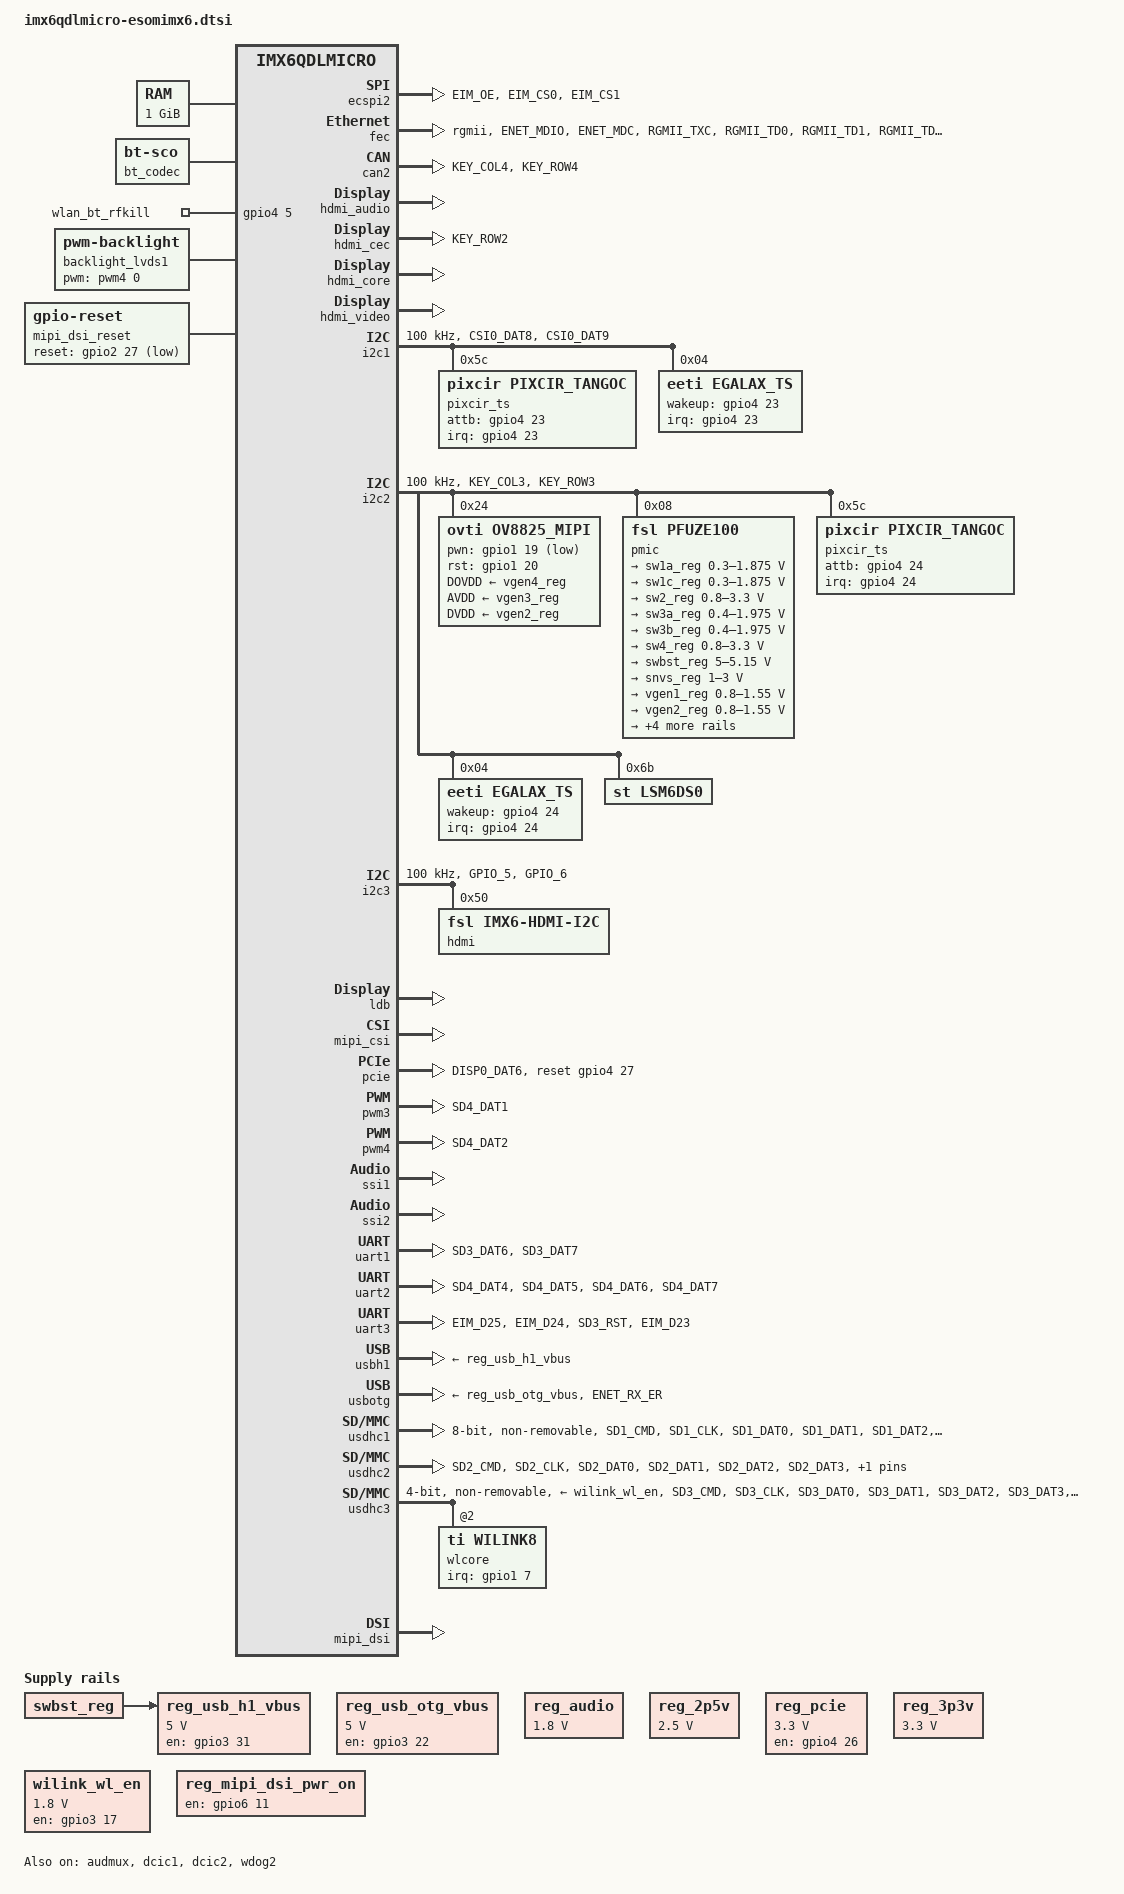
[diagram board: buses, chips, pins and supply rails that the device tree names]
/*
 * Copyright 2012 Freescale Semiconductor, Inc.
 * Copyright 2011 Linaro Ltd.
 *
 * The code contained herein is licensed under the GNU General Public
 * License. You may obtain a copy of the GNU General Public License
 * Version 2 or later at the following locations:
 *
 * http://www.opensource.org/licenses/gpl-license.html
 * http://www.gnu.org/copyleft/gpl.html
 */

#include <dt-bindings/gpio/gpio.h>
#include <dt-bindings/input/input.h>

/ {
	aliases {
		mxcfb0 = &mxcfb1;
		mxcfb1 = &mxcfb2;
		mxcfb2 = &mxcfb3;
		mxcfb3 = &mxcfb4;
	};

	hannstar_cabc {
		compatible = "hannstar,cabc";
		lvds0 {
			gpios = <&gpio6 15 GPIO_ACTIVE_HIGH>;
		};
		lvds1 {
			gpios = <&gpio6 16 GPIO_ACTIVE_HIGH>;
		};
	};

	chosen {
		stdout-path = &uart1;
	};
	memory {
		reg = <0x10000000 0x20000000 0x80000000 0x20000000>;
	};

	regulators {
		compatible = "simple-bus";
		#address-cells = <1>;
		#size-cells = <0>;

		reg_usb_otg_vbus: regulator@0 {
			compatible = "regulator-fixed";
			reg = <0>;
			regulator-name = "usb_otg_vbus";
			regulator-min-microvolt = <5000000>;
			regulator-max-microvolt = <5000000>;
			gpio = <&gpio3 22 0>;
			enable-active-high;
		};

		reg_usb_h1_vbus: regulator@1 {
			compatible = "regulator-fixed";
			reg = <1>;
			regulator-name = "usb_h1_vbus";
			regulator-min-microvolt = <5000000>;
			regulator-max-microvolt = <5000000>;
			gpio = <&gpio3 31 0>;
			enable-active-high;
			vin-supply = <&swbst_reg>;
		};

                reg_audio: 1p8v {
                        compatible = "regulator-fixed";
                        regulator-name = "1P8V";
                        regulator-min-microvolt = <1800000>;
                        regulator-max-microvolt = <1800000>;
                        regulator-always-on;
                };

		reg_2p5v: regulator@2 {
			compatible = "regulator-fixed";
			reg = <2>;
			regulator-name = "2P5V";
			regulator-min-microvolt = <2500000>;
			regulator-max-microvolt = <2500000>;
			regulator-always-on;
		};

		reg_pcie: regulator@3 {
			compatible = "regulator-fixed";
			reg = <3>;
			pinctrl-names = "default";
			pinctrl-0 = <&pinctrl_pcie_reg>;
			regulator-name = "MPCIE_3V3";
			regulator-min-microvolt = <3300000>;
			regulator-max-microvolt = <3300000>;
			gpio = <&gpio4 26 0>;
			regulator-always-on;
			enable-active-high;
		};

		reg_3p3v: regulator@4 {
			compatible = "regulator-fixed";
			reg = <4>;
			regulator-name = "3P3V";
			regulator-min-microvolt = <3300000>;
			regulator-max-microvolt = <3300000>;
			regulator-always-on;
		};

		wilink_wl_en: regulator@5 {
			compatible = "regulator-fixed";
			reg = <5>;
			regulator-name = "wilink_wl_en";
			regulator-min-microvolt = <1800000>;
			regulator-max-microvolt = <1800000>;
			gpio = <&gpio3 17  0>; /* WIFI ENABLE GPIO */
			startup-delay-us = <70000>;
			output_high;
			enable-active-high;
		};

		reg_mipi_dsi_pwr_on: mipi_dsi_pwr_on {
			compatible = "regulator-fixed";
			regulator-name = "mipi_dsi_pwr_on";
			gpio = <&gpio6 11 0>;
			enable-active-high;
		};

	};

	  bt_codec: bt-codec {
		compatible = "linux,bt-sco";
	  };

	  sound-bt {
	  	compatible = "fsl,imx-audio-btlsr";
	  	model = "fsl,imx-audio-btlsr";

	  	ssi-controller = <&ssi2>;
	  	bt-controller = <&bt_codec>;
	  	mux-int-port = <2>;
	  	mux-ext-port = <5>;
	  };


	sound-hdmi {
		compatible = "fsl,imx6q-audio-hdmi",
			     "fsl,imx-audio-hdmi";
		model = "imx-audio-hdmi";
		hdmi-controller = <&hdmi_audio>;
	};
#if 0
	wlan {
		compatible = "ti,wilink8";
		interrupt-parent = <&gpio1>;
		interrupts = <07 0x04>;
		clocks = <&refclock>;
		clock-names = "refclock";
		/* WiFi module enable GPIO; Required for proper fucntioning of WIFI down and up*/
		pwr-enable = <&gpio3 17 0>;

		refclock: refclock {
			compatible = "ti,wilink-clock";
			#clock-cells = <0>;
			clock-frequency = <38400000>;
		};
	};
#endif
	wlan_bt_rfkill {
		compatible = "net,rfkill-gpio";
		name = "wlan_bt_rfkill";
		type = <2>;     /* bluetooth */
		gpios = <&gpio4 5 0>; /* BT enable */
	};

	mxcfb1: fb@0 {
		compatible = "fsl,mxc_sdc_fb";
		disp_dev = "ldb";
		interface_pix_fmt = "RGB666";
		default_bpp = <16>;
		int_clk = <0>;
		late_init = <0>;
		status = "disabled";
	};

	mxcfb2: fb@1 {
		compatible = "fsl,mxc_sdc_fb";
		disp_dev = "hdmi";
		interface_pix_fmt = "RGB24";
		mode_str ="1920x1080M@60";
		default_bpp = <24>;
		int_clk = <0>;
		late_init = <0>;
		status = "disabled";
	};

	mxcfb3: fb@2 {
		compatible = "fsl,mxc_sdc_fb";
		disp_dev = "lcd";
		interface_pix_fmt = "RGB565";
		mode_str ="CLAA-WVGA";
		default_bpp = <16>;
		int_clk = <0>;
		late_init = <0>;
		status = "disabled";
	};

	mxcfb4: fb@3 {
		compatible = "fsl,mxc_sdc_fb";
		disp_dev = "mipi_dsi";
		interface_pix_fmt = "RGB24";
		mode_str ="AUO-320";
		default_bpp = <24>;
		int_clk = <0>;
		late_init = <0>;
		status = "okay";
	};

#if 0
	mxcfb4: fb@3 {
		compatible = "fsl,mxc_sdc_fb";
		disp_dev = "ldb";
		interface_pix_fmt = "RGB666";
		default_bpp = <16>;
		int_clk = <0>;
		late_init = <0>;
		status = "disabled";
	};
#endif
#if 0
	backlight_lvds0 {
		compatible = "pwm-backlight";
		pwms = <&pwm3 0 5000000>;
		brightness-levels = <0 4 8 16 32 64 128 255>;
		default-brightness-level = <7>;
	};
#endif

	backlight_lvds1 {
		compatible = "pwm-backlight";
		pwms = <&pwm4 0 5000000>;
		brightness-levels = <0 4 8 16 32 64 128 255>;
		default-brightness-level = <7>;
	};

	v4l2_cap_0 {
		compatible = "fsl,imx6q-v4l2-capture";
		ipu_id = <0>;
		csi_id = <0>;
		mclk_source = <0>;
		status = "okay";
	};

	v4l2_cap_1 {
		compatible = "fsl,imx6q-v4l2-capture";
		ipu_id = <0>;
		csi_id = <1>;
		mclk_source = <0>;
		status = "okay";
	};

	v4l2_out {
		compatible = "fsl,mxc_v4l2_output";
		status = "okay";
	};

	mipi_dsi_reset: mipi-dsi-reset {
		compatible = "gpio-reset";
		reset-gpios = <&gpio2 27 GPIO_ACTIVE_LOW>;
		reset-delay-us = <50>;
		#reset-cells = <0>;
	};
};

&audmux {
	pinctrl-names = "default";
	pinctrl-0 = <&pinctrl_audmux>;
	status = "okay";
};

&cpu0 {
	arm-supply = <&sw1a_reg>;
	soc-supply = <&sw1c_reg>;
};

&clks {
	fsl,ldb-di0-parent = <&clks IMX6QDL_CLK_PLL2_PFD0_352M>;
	fsl,ldb-di1-parent = <&clks IMX6QDL_CLK_PLL2_PFD0_352M>;
};

#if 0
/* eSOMiMX6 does not have SPI NOR flash mounted */
&ecspi1 {
	fsl,spi-num-chipselects = <1>;
	cs-gpios = <&gpio3 19 0>;
	pinctrl-names = "default";
	pinctrl-0 = <&pinctrl_ecspi1>;
	status = "okay";

};
#endif

/* eSOMiMX6 supports two chip selects for ECSPI2; Since CSO is connected to SPI connector in ANKAA
   and CS1 is connected to GPIO header, properties has been defined as if only one chip select is
   supported */
&ecspi2 {
	fsl,spi-num-chipselects = <1>;
	cs-gpios = <&gpio2 26 0>;
	pinctrl-names = "default";
	pinctrl-0 = <&pinctrl_ecspi2>;
	status = "okay";
};

&fec {
	pinctrl-names = "default";
	pinctrl-0 = <&pinctrl_enet>;
	phy-mode = "rgmii";
	phy-reset-gpios = <&gpio1 27 0>;
	fsl,magic-packet;
	status = "okay";
};

/* In ANKAA, CAN1 signals are connected to GPIO header */
#if 0
&can1 {
	pinctrl-names = "default";
	pinctrl-0 = <&pinctrl_can1>;
	status = "okay";
};
#endif

&can2 {
	pinctrl-names = "default";
	pinctrl-0 = <&pinctrl_can2>;
	status = "okay";
};

&gpc {
	fsl,ldo-bypass = <1>;
	fsl,wdog-reset = <2>;
};

&dcic1 {
	dcic_id = <0>;
	dcic_mux = "dcic-hdmi";
	status = "okay";
};

&dcic2 {
	dcic_id = <1>;
	dcic_mux = "dcic-lvds1";
	status = "okay";
};

&hdmi_audio {
	status = "okay";
};

&hdmi_cec {
	pinctrl-names = "default";
	pinctrl-0 = <&pinctrl_hdmi_cec>;
	status = "okay";
};

&hdmi_core {
	ipu_id = <0>;
	disp_id = <0>;
	status = "okay";
};

&hdmi_video {
	fsl,phy_reg_vlev = <0x0294>;
	fsl,phy_reg_cksymtx = <0x800d>;
	status = "okay";
};

&i2c1 {
	clock-frequency = <100000>;
	pinctrl-names = "default";
	pinctrl-0 = <&pinctrl_i2c1>;
	status = "okay";

	/* esomimx6 : lvds0 touch new driver*/

	pixcir_ts@5C {
		compatible = "pixcir,pixcir_tangoc";
		reg = <0x5C>;
		interrupt-parent = <&gpio4>;
		interrupts = <23 2>;
		attb-gpio = <&gpio4 23 0>;
		touchscreen-size-x = <800>;
		touchscreen-size-y = <480>;
        };

	/* esomimx6 : lvds0 touch */
	egalax_ts@04 {
                compatible = "eeti,egalax_ts";
                reg = <0x04>;
                interrupt-parent = <&gpio4>;
                interrupts = <23 2>;
                wakeup-gpios = <&gpio4 23 0>;
        };

};

&i2c2 {
	clock-frequency = <100000>;
	pinctrl-names = "default";
	pinctrl-0 = <&pinctrl_i2c2>;
	status = "okay";

	ov8825_mipi: ov8825_mipi@24 { /* i2c2 driver */
		compatible = "ovti,ov8825_mipi";
		reg = <0x24>;
		clocks = <&clks 201>;
		clock-names = "csi_mclk";
		DOVDD-supply = <&vgen4_reg>; /* 1.8v */
		AVDD-supply = <&vgen3_reg>;  /* 2.8v, rev C board is VGEN3
						rev B board is VGEN5 */
		DVDD-supply = <&vgen2_reg>;  /* 1.5v*/
		pwn-gpios = <&gpio1 19 1>;   /* active low: SD1_CLK */
		rst-gpios = <&gpio1 20 0>;   /* active high: SD1_DAT2 */
		ipu_id = <0>;
		csi_id = <1>;
		vc = <0>;
		mclk = <24000000>;
		mclk_source = <0>;
		status="okay";
	};

	pmic: pfuze100@08 {
		compatible = "fsl,pfuze100";
		reg = <0x08>;

		regulators {
			sw1a_reg: sw1ab {
				regulator-min-microvolt = <300000>;
				regulator-max-microvolt = <1875000>;
				regulator-boot-on;
				regulator-always-on;
				regulator-ramp-delay = <6250>;
			};

			sw1c_reg: sw1c {
				regulator-min-microvolt = <300000>;
				regulator-max-microvolt = <1875000>;
				regulator-boot-on;
				regulator-always-on;
				regulator-ramp-delay = <6250>;
			};

			sw2_reg: sw2 {
				regulator-min-microvolt = <800000>;
				regulator-max-microvolt = <3300000>;
				regulator-boot-on;
				regulator-always-on;
			};

			sw3a_reg: sw3a {
				regulator-min-microvolt = <400000>;
				regulator-max-microvolt = <1975000>;
				regulator-boot-on;
				regulator-always-on;
			};

			sw3b_reg: sw3b {
				regulator-min-microvolt = <400000>;
				regulator-max-microvolt = <1975000>;
				regulator-boot-on;
				regulator-always-on;
			};

			sw4_reg: sw4 {
				regulator-min-microvolt = <800000>;
				regulator-max-microvolt = <3300000>;
                                regulator-boot-on;
                                regulator-always-on;
			};

			swbst_reg: swbst {
				regulator-min-microvolt = <5000000>;
				regulator-max-microvolt = <5150000>;
			};

			snvs_reg: vsnvs {
				regulator-min-microvolt = <1000000>;
				regulator-max-microvolt = <3000000>;
				regulator-boot-on;
				regulator-always-on;
			};

			vref_reg: vrefddr {
				regulator-boot-on;
				regulator-always-on;
			};

			vgen1_reg: vgen1 {
				regulator-min-microvolt = <800000>;
				regulator-max-microvolt = <1550000>;
			};

			vgen2_reg: vgen2 {
				regulator-min-microvolt = <800000>;
				regulator-max-microvolt = <1550000>;
			};

			vgen3_reg: vgen3 {
				regulator-min-microvolt = <2500000>;
				regulator-max-microvolt = <2500000>;
				regulator-boot-on;
				regulator-always-on;
			};

			vgen4_reg: vgen4 {
				regulator-min-microvolt = <1800000>;
				regulator-max-microvolt = <1800000>;
				regulator-boot-on;
				regulator-always-on;
			};

			vgen5_reg: vgen5 {
                               regulator-min-microvolt = <2500000>;
                               regulator-max-microvolt = <2500000>;
                               regulator-boot-on;
                               regulator-always-on;
			};

			vgen6_reg: vgen6 {
				regulator-min-microvolt = <1800000>;
				regulator-max-microvolt = <3300000>;
                                regulator-boot-on;
                                regulator-always-on;
			};
		};
	};

	/* esomimx6 : lvds1 touch new driver*/

	pixcir_ts@5C {
		compatible = "pixcir,pixcir_tangoc";
		reg = <0x5C>;
		interrupt-parent = <&gpio4>;
		interrupts = <24 2>;
		attb-gpio = <&gpio4 24 0>;
		touchscreen-size-x = <800>;
		touchscreen-size-y = <480>;
	};

	/* ANKAA : lvds1 touch */
        egalax_ts@04 {
                compatible = "eeti,egalax_ts";
                reg = <0x04>;
                interrupt-parent = <&gpio4>;
                interrupts = <24 2>;
                wakeup-gpios = <&gpio4 24 0>;
        };

	lsm6ds0@0x6B {
		compatible = "st,lsm6ds0";
		reg = <0x6B>;
		rot-matrix = /bits/ 16 <(1) (0) (0)
					(0) (1) (0)
					(0) (0) (1)>;
		g-poll-interval = <100>;
		g-min-interval = <2>;
		g-fs-range = <0>;
		x-poll-interval = <100>;
		x-min-interval = <1>;
		x-fs-range = <0>;
		aa-filter-bw = <0>;
	};


};

&i2c3 {
	clock-frequency = <100000>;
	pinctrl-names = "default";
	pinctrl-0 = <&pinctrl_i2c3>;
	status = "okay";

	hdmi: edid@50 {
		compatible = "fsl,imx6-hdmi-i2c";
		reg = <0x50>;
	};


};

&iomuxc {
	pinctrl-names = "default";
	pinctrl-0 = <&pinctrl_hog>;

	imx6qdl-sabresd {
		pinctrl_hog: hoggrp {
			fsl,pins = <
				MX6QDL_PAD_GPIO_0__CCM_CLKO1 0x80000000 /* Audio codec clock */
				MX6QDL_PAD_GPIO_8__XTALOSC_REF_CLK_32K 0x0001B0B0 /* WiFi clock */
				MX6QDL_PAD_NANDF_CS3__GPIO6_IO16 0x80000000 /* eMMC nRST; Not yet used */
				MX6QDL_PAD_EIM_D26__GPIO3_IO26 0x80000000 /* emergency shutdown */
				MX6QDL_PAD_ENET_RXD0__GPIO1_IO27 0x80000000 /* RGMII nRST; Not yet used */
				MX6QDL_PAD_ENET_TXD1__GPIO1_IO29 0x80000000 /* Indication LED2 */
				MX6QDL_PAD_EIM_D29__GPIO3_IO29 0x80000000 /* BT_MOD_WU, need to know the purpose */
				/* GPIO header in ANKAA board */
				/* MIPI DSI lines are not clocked since they cannot be multiplexed */
				/* I2C3 lines are not muxed here as GPIO header since they are connected to HDMI display */
				MX6QDL_PAD_GPIO_9__GPIO1_IO09 0x80000000
				MX6QDL_PAD_GPIO_1__GPIO1_IO01 0x80000000
				MX6QDL_PAD_EIM_LBA__GPIO2_IO27 0x80000000
				MX6QDL_PAD_DISP0_DAT22__GPIO5_IO16 0x80000000
				MX6QDL_PAD_DI0_DISP_CLK__GPIO4_IO16 0x80000000 /* Need to know if this will work? */
				MX6QDL_PAD_DISP0_DAT9__GPIO4_IO30 0x80000000
				MX6QDL_PAD_DISP0_DAT23__GPIO5_IO17 0x80000000
				MX6QDL_PAD_EIM_D20__GPIO3_IO20 0x80000000
				MX6QDL_PAD_SD4_CLK__GPIO7_IO10 0x80000000
				MX6QDL_PAD_SD4_CMD__GPIO7_IO09 0x80000000
				MX6QDL_PAD_SD4_DAT0__GPIO2_IO08 0x80000000
				MX6QDL_PAD_SD4_DAT3__GPIO2_IO11 0x80000000
				MX6QDL_PAD_EIM_DA14__GPIO3_IO14 0x80000000
				MX6QDL_PAD_EIM_DA15__EIM_AD15 0x80000000
				MX6QDL_PAD_DI0_PIN4__GPIO4_IO20 0x80000000
				MX6QDL_PAD_DISP0_DAT18__GPIO5_IO12 0x80000000
				MX6QDL_PAD_DI0_PIN2__GPIO4_IO18 0x80000000
				MX6QDL_PAD_DI0_PIN3__GPIO4_IO19 0x80000000
				MX6QDL_PAD_DI0_PIN15__GPIO4_IO17 0x80000000
				MX6QDL_PAD_KEY_ROW2__GPIO4_IO11 0x80000000
				MX6QDL_PAD_KEY_COL2__GPIO4_IO10 0x80000000
				MX6QDL_PAD_GPIO_16__GPIO7_IO11 0x80000000
				MX6QDL_PAD_GPIO_17__GPIO7_IO12 0x80000000
				MX6QDL_PAD_EIM_DA13__GPIO3_IO13 0x80000000
				/* End of GPIO headers */

			>;
		};

		pinctrl_audmux: audmuxgrp {
			fsl,pins = <
				MX6QDL_PAD_CSI0_DAT7__AUD3_RXD		0x130b0
				MX6QDL_PAD_CSI0_DAT4__AUD3_TXC		0x130b0
				MX6QDL_PAD_CSI0_DAT5__AUD3_TXD		0x110b0
				MX6QDL_PAD_CSI0_DAT6__AUD3_TXFS		0x130b0
				MX6QDL_PAD_EIM_DA3__GPIO3_IO03    0x0001B0B0
				/*Pin mux for BT Codec*/
				MX6QDL_PAD_KEY_COL0__AUD5_TXC     0x130b0
				MX6QDL_PAD_KEY_COL1__AUD5_TXFS    0x130b0
				MX6QDL_PAD_KEY_ROW0__AUD5_TXD     0x130b0
				MX6QDL_PAD_KEY_ROW1__AUD5_RXD     0x130b0
			>;
		};

		pinctrl_wdog1: wdog {
			fsl,pins = <
				MX6QDL_PAD_EIM_DA5__GPIO3_IO05          0x0001B0B0
			>;
		};

		pinctrl_ecspi1: ecspi1grp {
			fsl,pins = <
				MX6QDL_PAD_EIM_D17__ECSPI1_MISO		0x100b1
				MX6QDL_PAD_EIM_D18__ECSPI1_MOSI		0x100b1
				MX6QDL_PAD_EIM_D16__ECSPI1_SCLK		0x100b1
			>;
		};

		pinctrl_ecspi2: ecspi2grp {
			fsl,pins = <
				MX6QDL_PAD_EIM_OE__ECSPI2_MISO		0x100b1
				MX6QDL_PAD_EIM_CS0__ECSPI2_SCLK		0x100b1
				MX6QDL_PAD_EIM_CS1__ECSPI2_MOSI		0x100b1
			>;
		};

		pinctrl_can1: can1grp {
			fsl,pins = <
				MX6QDL_PAD_KEY_ROW2__FLEXCAN1_RX	0x80000000
				MX6QDL_PAD_KEY_COL2__FLEXCAN1_TX	0x80000000
			>;
		};

		pinctrl_can2: can2grp {
			fsl,pins = <
				MX6QDL_PAD_KEY_COL4__FLEXCAN2_TX   	0x80000000
				MX6QDL_PAD_KEY_ROW4__FLEXCAN2_RX 	0x80000000
 			>;
 		};


		pinctrl_i2c2_egalax_int: egalax_i2c2_intgrp {
			fsl,pins = <
				MX6QDL_PAD_NANDF_ALE__GPIO6_IO08 0x80000000
			>;
		};

		pinctrl_i2c3_egalax_int: egalax_i2c3_intgrp {
			fsl,pins = <
				MX6QDL_PAD_NANDF_CLE__GPIO6_IO07 0x80000000
			>;
		};

		pinctrl_enet: enetgrp {
			fsl,pins = <
				MX6QDL_PAD_ENET_MDIO__ENET_MDIO		0x1b0b0
				MX6QDL_PAD_ENET_MDC__ENET_MDC		0x1b0b0
				MX6QDL_PAD_RGMII_TXC__RGMII_TXC		0x1b0b0
				MX6QDL_PAD_RGMII_TD0__RGMII_TD0		0x1b0b0
				MX6QDL_PAD_RGMII_TD1__RGMII_TD1		0x1b0b0
				MX6QDL_PAD_RGMII_TD2__RGMII_TD2		0x1b0b0
				MX6QDL_PAD_RGMII_TD3__RGMII_TD3		0x1b0b0
				MX6QDL_PAD_RGMII_TX_CTL__RGMII_TX_CTL	0x1b0b0
				MX6QDL_PAD_ENET_REF_CLK__ENET_TX_CLK	0x1b0b0
				MX6QDL_PAD_RGMII_RXC__RGMII_RXC		0x1b0b0
				MX6QDL_PAD_RGMII_RD0__RGMII_RD0		0x1b0b0
				MX6QDL_PAD_RGMII_RD1__RGMII_RD1		0x1b0b0
				MX6QDL_PAD_RGMII_RD2__RGMII_RD2		0x1b0b0
				MX6QDL_PAD_RGMII_RD3__RGMII_RD3		0x1b0b0
				MX6QDL_PAD_RGMII_RX_CTL__RGMII_RX_CTL	0x1b0b0
				MX6QDL_PAD_GPIO_16__ENET_REF_CLK	0x4001b0a8
			>;
		};

		pinctrl_hdmi_cec: hdmicecgrp {
			fsl,pins = <
				MX6QDL_PAD_KEY_ROW2__HDMI_TX_CEC_LINE 0x1f8b0
			>;
		};

		pinctrl_hdmi_hdcp: hdmihdcpgrp {
			fsl,pins = <
				MX6QDL_PAD_KEY_COL3__HDMI_TX_DDC_SCL 0x4001b8b1
				MX6QDL_PAD_KEY_ROW3__HDMI_TX_DDC_SDA 0x4001b8b1
			>;
		};

		pinctrl_i2c1: i2c1grp {
			fsl,pins = <
				MX6QDL_PAD_CSI0_DAT8__I2C1_SDA		0x4001b8b1
				MX6QDL_PAD_CSI0_DAT9__I2C1_SCL		0x4001b8b1
			>;
		};

		pinctrl_i2c2: i2c2grp {
			fsl,pins = <
				MX6QDL_PAD_KEY_COL3__I2C2_SCL		0x4001b8b1
				MX6QDL_PAD_KEY_ROW3__I2C2_SDA		0x4001b8b1
			 >;
		};

		pinctrl_i2c3: i2c3grp {
			fsl,pins = <
				MX6QDL_PAD_GPIO_5__I2C3_SCL  		0x4001b8b1
				MX6QDL_PAD_GPIO_6__I2C3_SDA		0x4001b8b1
			>;
		};

		pinctrl_ipu1: ipu1grp {
			fsl,pins = <
				MX6QDL_PAD_DI0_DISP_CLK__IPU1_DI0_DISP_CLK 0x10
				MX6QDL_PAD_DI0_PIN15__IPU1_DI0_PIN15       0x10
				MX6QDL_PAD_DI0_PIN2__IPU1_DI0_PIN02        0x10
				MX6QDL_PAD_DI0_PIN3__IPU1_DI0_PIN03        0x10
				MX6QDL_PAD_DI0_PIN4__IPU1_DI0_PIN04        0x80000000
				MX6QDL_PAD_DISP0_DAT0__IPU1_DISP0_DATA00   0x10
				MX6QDL_PAD_DISP0_DAT1__IPU1_DISP0_DATA01   0x10
				MX6QDL_PAD_DISP0_DAT2__IPU1_DISP0_DATA02   0x10
				MX6QDL_PAD_DISP0_DAT3__IPU1_DISP0_DATA03   0x10
				MX6QDL_PAD_DISP0_DAT4__IPU1_DISP0_DATA04   0x10
				MX6QDL_PAD_DISP0_DAT5__IPU1_DISP0_DATA05   0x10
				MX6QDL_PAD_DISP0_DAT6__IPU1_DISP0_DATA06   0x10
				MX6QDL_PAD_DISP0_DAT7__IPU1_DISP0_DATA07   0x10
				MX6QDL_PAD_DISP0_DAT8__IPU1_DISP0_DATA08   0x10
				MX6QDL_PAD_DISP0_DAT9__IPU1_DISP0_DATA09   0x10
				MX6QDL_PAD_DISP0_DAT10__IPU1_DISP0_DATA10  0x10
				MX6QDL_PAD_DISP0_DAT11__IPU1_DISP0_DATA11  0x10
				MX6QDL_PAD_DISP0_DAT12__IPU1_DISP0_DATA12  0x10
				MX6QDL_PAD_DISP0_DAT13__IPU1_DISP0_DATA13  0x10
				MX6QDL_PAD_DISP0_DAT14__IPU1_DISP0_DATA14  0x10
				MX6QDL_PAD_DISP0_DAT15__IPU1_DISP0_DATA15  0x10
				MX6QDL_PAD_DISP0_DAT16__IPU1_DISP0_DATA16  0x10
				MX6QDL_PAD_DISP0_DAT18__IPU1_DISP0_DATA18  0x10
				MX6QDL_PAD_DISP0_DAT19__IPU1_DISP0_DATA19  0x10
				MX6QDL_PAD_DISP0_DAT20__IPU1_DISP0_DATA20  0x10
				MX6QDL_PAD_DISP0_DAT21__IPU1_DISP0_DATA21  0x10
				MX6QDL_PAD_DISP0_DAT22__IPU1_DISP0_DATA22  0x10
				MX6QDL_PAD_DISP0_DAT23__IPU1_DISP0_DATA23  0x10
			>;
		};

		pinctrl_ipu1_2: ipu1grp-2 { /* parallel camera */
			fsl,pins = <
                                MX6QDL_PAD_EIM_DA4__GPIO3_IO04             0x0001B0B0 /*CAM1_STROBE*/
				MX6QDL_PAD_CSI0_DAT10__IPU1_CSI0_DATA10    0x0001B0B0
				MX6QDL_PAD_CSI0_DAT11__IPU1_CSI0_DATA11    0x0001B0B0
				MX6QDL_PAD_CSI0_DAT12__IPU1_CSI0_DATA12    0x0001B0B0
				MX6QDL_PAD_CSI0_DAT13__IPU1_CSI0_DATA13    0x0001B0B0
				MX6QDL_PAD_CSI0_DAT14__IPU1_CSI0_DATA14    0x0001B0B0
				MX6QDL_PAD_CSI0_DAT15__IPU1_CSI0_DATA15    0x0001B0B0
				MX6QDL_PAD_CSI0_DAT16__IPU1_CSI0_DATA16    0x0001B0B0
				MX6QDL_PAD_CSI0_DAT17__IPU1_CSI0_DATA17    0x0001B0B0
				MX6QDL_PAD_CSI0_DAT18__IPU1_CSI0_DATA18    0x0001B0B0
				MX6QDL_PAD_CSI0_DAT19__IPU1_CSI0_DATA19    0x0001B0B0
				MX6QDL_PAD_CSI0_DATA_EN__IPU1_CSI0_DATA_EN 0x0001B0B0
				MX6QDL_PAD_CSI0_PIXCLK__IPU1_CSI0_PIXCLK   0x0001B0B0
				MX6QDL_PAD_CSI0_MCLK__IPU1_CSI0_HSYNC      0x0001B0B0
				MX6QDL_PAD_CSI0_VSYNC__IPU1_CSI0_VSYNC     0x0001B0B0
			>;
		};

		pinctrl_pcie: pciegrp {
			fsl,pins = <
				MX6QDL_PAD_DISP0_DAT6__GPIO4_IO27	0x1b0b0
			>;
		};

		pinctrl_pcie_reg: pciereggrp {
			fsl,pins = <
				MX6QDL_PAD_DISP0_DAT5__GPIO4_IO26	0x1b0b0
			>;
		};

		pinctrl_pwm3: pwm3grp {
			fsl,pins = <
				MX6QDL_PAD_SD4_DAT1__PWM3_OUT		0x1b0b1
			>;
		};

		pinctrl_pwm4: pwm4grp {
			fsl,pins = <
				MX6QDL_PAD_SD4_DAT2__PWM4_OUT		0x1b0b1
			>;
		};

		pinctrl_uart1: uart1grp {
			fsl,pins = <
				MX6QDL_PAD_SD3_DAT6__UART1_RX_DATA	0x1b0b1
				MX6QDL_PAD_SD3_DAT7__UART1_TX_DATA	0x1b0b1
			>;
		};

		pinctrl_uart2: uart2grp {
			fsl,pins = <
				MX6QDL_PAD_SD4_DAT4__UART2_RX_DATA	0x1b0b1
				MX6QDL_PAD_SD4_DAT5__UART2_RTS_B	0x1b0b1
				MX6QDL_PAD_SD4_DAT6__UART2_CTS_B	0x1b0b1
				MX6QDL_PAD_SD4_DAT7__UART2_TX_DATA	0x1b0b1
			>;
		};
		pinctrl_uart3: uart3grp {
			fsl,pins = <
				MX6QDL_PAD_EIM_D25__UART3_RX_DATA	0x1b0b1
				MX6QDL_PAD_EIM_D24__UART3_TX_DATA	0x1b0b1
				MX6QDL_PAD_SD3_RST__UART3_RTS_B		0x1b0b1
				MX6QDL_PAD_EIM_D23__UART3_CTS_B		0x1b0b1
			>;
		};

		pinctrl_usbotg: usbotggrp {
			fsl,pins = <
				MX6QDL_PAD_ENET_RX_ER__USB_OTG_ID	0x17059
			>;
		};

		pinctrl_usdhc1: usdhc1grp {
			fsl,pins = <
				MX6QDL_PAD_SD1_CMD__SD1_CMD		0x17071
				MX6QDL_PAD_SD1_CLK__SD1_CLK		0x10071
				MX6QDL_PAD_SD1_DAT0__SD1_DATA0		0x17071
				MX6QDL_PAD_SD1_DAT1__SD1_DATA1		0x17071
				MX6QDL_PAD_SD1_DAT2__SD1_DATA2		0x17071
				MX6QDL_PAD_SD1_DAT3__SD1_DATA3		0x17071
				MX6QDL_PAD_NANDF_D0__SD1_DATA4		0x17071
				MX6QDL_PAD_NANDF_D1__SD1_DATA5		0x17071
				MX6QDL_PAD_NANDF_D2__SD1_DATA6		0x17071
				MX6QDL_PAD_NANDF_D3__SD1_DATA7		0x17071
			>;
		};

		pinctrl_usdhc2: usdhc2grp {
			fsl,pins = <
				MX6QDL_PAD_SD2_CMD__SD2_CMD		0x17059
				MX6QDL_PAD_SD2_CLK__SD2_CLK		0x10059
				MX6QDL_PAD_SD2_DAT0__SD2_DATA0		0x17059
				MX6QDL_PAD_SD2_DAT1__SD2_DATA1		0x17059
				MX6QDL_PAD_SD2_DAT2__SD2_DATA2		0x17059
				MX6QDL_PAD_SD2_DAT3__SD2_DATA3		0x17059
			>;
		};

		pinctrl_usdhc3: usdhc3grp {
			fsl,pins = <
				MX6QDL_PAD_SD3_CMD__SD3_CMD		0x1F059
				MX6QDL_PAD_SD3_CLK__SD3_CLK		0x1F059
				MX6QDL_PAD_SD3_DAT0__SD3_DATA0		0x1F059
				MX6QDL_PAD_SD3_DAT1__SD3_DATA1		0x1F059
				MX6QDL_PAD_SD3_DAT2__SD3_DATA2		0x1F059
				MX6QDL_PAD_SD3_DAT3__SD3_DATA3		0x1F059
				MX6QDL_PAD_EIM_D17__GPIO3_IO17          0x1F088
			>;
		};

	};

	gpio_leds {
		pinctrl_gpio_leds: gpioledsgrp {
			fsl,pins = <
				MX6QDL_PAD_GPIO_2__GPIO1_IO02 0x1b0b0
			>;
		};
	};
};

&ldb {
	status = "okay";

	lvds-channel@0 {
		fsl,data-mapping = "spwg";
		fsl,data-width = <18>;
		status = "okay";

		display-timings {
			native-mode = <&timing0>;
			teninches-mode = <&timing1>;
			timing0: 800x480M {
				clock-frequency = <35000000>;
				hactive = <800>;
				vactive = <480>;
				hback-porch = <40>;
				hfront-porch = <40>;
				vback-porch = <29>;
				vfront-porch = <13>;
				hsync-len = <48>;
				vsync-len = <3>;
			};
			timing1: hsd100pxn1 {
				clock-frequency = <65000000>;
				hactive = <1024>;
				vactive = <768>;
				hback-porch = <220>;
				hfront-porch = <40>;
				vback-porch = <21>;
				vfront-porch = <7>;
				hsync-len = <60>;
				vsync-len = <10>;
			};
		};
	};

	lvds-channel@1 {
		fsl,data-mapping = "spwg";
		fsl,data-width = <18>;
		status = "okay";

		display-timings {
			native-mode = <&timing2>;
			teninches-mode = <&timing3>;
			timing2: 800x480M {
				clock-frequency = <35000000>;
				hactive = <800>;
				vactive = <480>;
				hback-porch = <40>;
				hfront-porch = <40>;
				vback-porch = <29>;
				vfront-porch = <13>;
				hsync-len = <48>;
				vsync-len = <3>;
			};
			timing3: hsd100pxn1 {
				clock-frequency = <65000000>;
				hactive = <1024>;
				vactive = <768>;
				hback-porch = <220>;
				hfront-porch = <40>;
				vback-porch = <21>;
				vfront-porch = <7>;
				hsync-len = <60>;
				vsync-len = <10>;
			};
		};
	};
};

&mipi_csi {
	status = "okay";
	ipu_id = <0>;
	csi_id = <1>;
	v_channel = <0>;
	lanes = <2>;
};

&pcie {
	pinctrl-names = "default";
	pinctrl-0 = <&pinctrl_pcie>;
	reset-gpio = <&gpio4 27 0>;
};

&pwm3 {
	pinctrl-names = "default";
	pinctrl-0 = <&pinctrl_pwm3>;
	status = "okay";
};

&pwm4 {
	pinctrl-names = "default";
	pinctrl-0 = <&pinctrl_pwm4>;
	status = "okay";
};

&snvs_poweroff {
	status = "okay";
};

&ssi1 {
	status = "okay";
};

&ssi2 {
	status = "okay";
};

/* Debug UART */
&uart1 {
	pinctrl-names = "default";
	pinctrl-0 = <&pinctrl_uart1>;
	status = "okay";
};

/* RS232 port */
&uart2 {
	status = "okay";
	pinctrl-names = "default";
	pinctrl-0 = <&pinctrl_uart2>;
	fsl,uart-has-rtscts;
};

/* esomimx6 : bluetooth */
&uart3 {
	pinctrl-names = "default";
	pinctrl-0 = <&pinctrl_uart3>;
	fsl,uart-has-rtscts;
	status = "okay";
};

&usbh1 {
	vbus-supply = <&reg_usb_h1_vbus>;
	status = "okay";
};

&usbotg {
	vbus-supply = <&reg_usb_otg_vbus>;
	pinctrl-names = "default";
	pinctrl-0 = <&pinctrl_usbotg>;
	disable-over-current;
	srp-disable;
	hnp-disable;
	adp-disable;
	status = "okay";
};

&usbphy1 {
	tx-d-cal = <0x5>;
};

&usbphy2 {
	tx-d-cal = <0x5>;
};

/* eMMC */
&usdhc1 {
	pinctrl-names = "default";
	pinctrl-0 = <&pinctrl_usdhc1>;
	bus-width = <8>;
	non-removable;
	no-1-8-v;
	keep-power-in-suspend;
	status = "okay";
};

&usdhc2 {
	pinctrl-names = "default";
	pinctrl-0 = <&pinctrl_usdhc2>;
	cd-gpios = <&gpio4 25 1>;
	no-1-8-v;
	keep-power-in-suspend;
	enable-sdio-wakeup;
	status = "okay";
};

/* uSDHC1, TiWi wl1271 */
&usdhc3 {
	pinctrl-names = "default";
	pinctrl-0 = <&pinctrl_usdhc3>;
	bus-width = <4>;
	non-removable;
	vmmc-supply = <&wilink_wl_en>;
	ocr-limit = <0x80>;     /* 1.65v - 1.95v */
	/*cap-power-off-card;*/
	keep-power-in-suspend;
	status = "okay";
	#address-cells = <1>;
	#size-cells = <0>;
	wlcore: wlcore@2 {
		compatible = "ti,wilink8";
		reg = <2>;
		interrupt-parent = <&gpio1>;
		interrupts = <7 IRQ_TYPE_LEVEL_HIGH>;
		ref-clock-frequency = <38400000>;
	};

};

&wdog1 {
       pinctrl-names = "default";
       pinctrl-0 = <&pinctrl_wdog1>;
        status = "disabled";
};

&wdog2 {
	status = "okay";
};

&mipi_dsi {
        dev_id = <0>;
        disp_id = <1>;
		ipu_id = <0>;
        lcd_panel = "AUO-320";
        disp-power-on-supply = <&reg_mipi_dsi_pwr_on>;
        resets = <&mipi_dsi_reset>;
        status = "okay";
};
